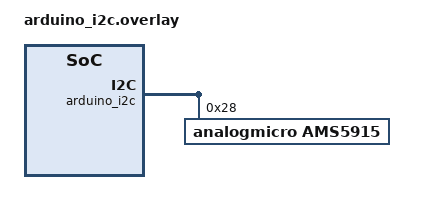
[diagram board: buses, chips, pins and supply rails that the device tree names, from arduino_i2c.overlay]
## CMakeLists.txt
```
# Copyright (c) 2024 BoRob Engineering
# SPDX-License-Identifier: Apache-2.0

cmake_minimum_required(VERSION 3.20.0)
find_package(Zephyr REQUIRED HINTS $ENV{ZEPHYR_BASE})
project(ams5915)

FILE(GLOB app_sources src/*.c)
target_sources(app PRIVATE ${app_sources})
```

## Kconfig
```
# Copyright (c) 2024 BoRob Engineering
# SPDX-License-Identifier: Apache-2.0

config LOG
	default y

config LOG_PRINTK
	default y

config SENSOR_LOG_LEVEL
	default 4

# Enable I2C support by default. This default can be overridden if
# needed.

config I2C
	default y

source "Kconfig.zephyr"
```

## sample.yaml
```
sample:
  description: Demonstration of the AMS5915 Pressure Sensor Driver
  name: ams5915 sample
tests:
  sample.sensor.iaqcore:
    harness: sensor
    tags: samples
    depends_on:
      - i2c
      - arduino_i2c
```

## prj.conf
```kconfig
CONFIG_STDOUT_CONSOLE=y
CONFIG_I2C=y
CONFIG_SENSOR=y
CONFIG_ASSERT=y
CONFIG_LOG=y
CONFIG_REQUIRES_FLOAT_PRINTF=y
# CONFIG_LOG_DEFAULT_LEVEL=4
CONFIG_NO_OPTIMIZATIONS=y
CONFIG_MAIN_STACK_SIZE=2048
```

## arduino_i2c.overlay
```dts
/*
 * Copyright (c) 2024 BoRob Engineering
 *
 * SPDX-License-Identifier: Apache-2.0
 */

/*
 * Example of a nucleo-g474re overlay with attached AMS5915 sensor to the Arduino I2C bus.
 *
 * Device address 0x28 and sensor variant AMS5915-1000-D-N is assumed.
 */
&arduino_i2c {
	status = "okay";
	ams5915@28 {
		compatible = "analogmicro,ams5915";
		reg = <0x28>;
		lower-limit-press = <0>;  /* limit in kilopascal!*/
		upper-limit-press = <10000>;  /* limit in kilopascal! */
	};
};
```

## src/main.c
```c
/*
 * Copyright (c) 2024 BoRob Engineering
 *
 * SPDX-License-Identifier: Apache-2.0
 */

#include <zephyr/kernel.h>
#include <zephyr/device.h>
#include <zephyr/drivers/sensor.h>
#include <zephyr/sys/__assert.h>
#include <zephyr/logging/log.h>

LOG_MODULE_REGISTER(app, CONFIG_LOG_DEFAULT_LEVEL);

int main(void)
{
	const struct device *const dev = DEVICE_DT_GET_ANY(analogmicro_ams5915);
	struct sensor_value temp, press;

	__ASSERT(dev != NULL, "Failed to get device binding");
	__ASSERT(device_is_ready(dev), "Device %s is not ready", dev->name);

	printk("device is %p, name is %s\n", dev, dev->name);

	while (1) {
		sensor_sample_fetch(dev);
		sensor_channel_get(dev, SENSOR_CHAN_AMBIENT_TEMP, &temp);
		sensor_channel_get(dev, SENSOR_CHAN_PRESS, &press);

		printk("temp: %.6f; press: %.6f;\n", sensor_value_to_double(&temp),
		       sensor_value_to_double(&press));

		k_sleep(K_MSEC(100));
	}

	return 0;
}
```
